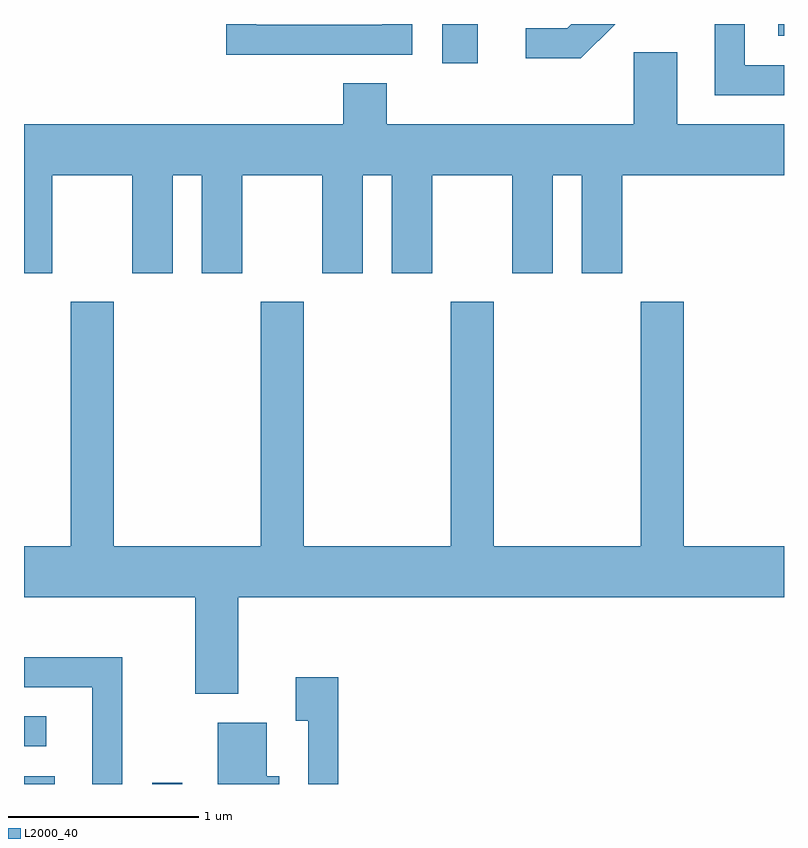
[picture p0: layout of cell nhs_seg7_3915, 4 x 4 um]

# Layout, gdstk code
import gdstk
lib = gdstk.Library(unit=1e-6, precision=1e-09)
def R(c, l, rs):  # rectangles x0, y0, x1, y1
    for r in rs: c.add(gdstk.rectangle(r[:2], r[2:], *l))
def P(c, l, *ps):  # polygons
    for p in ps: c.add(gdstk.Polygon(p, *l))
L2000_40 = (2000, 40)

nhs_seg7_3915 = lib.new_cell('nhs_seg7_3915')
R(nhs_seg7_3915, L2000_40, [(305.611,1682.252,305.774,1682.294), (306.286,1682.252,306.444,1682.258), (305.611,1682.451,305.728,1682.609), (307.811,1686.046,307.999,1686.252), (309.581,1686.191,309.611,1686.252)])
P(nhs_seg7_3915, L2000_40, [(307.654,1686.252),(307.496,1686.252),(307.496,1686.249),(306.834,1686.249),(306.834,1686.252),(306.676,1686.252),(306.676,1686.091),(307.654,1686.091)],
  [(309.611,1686.034),(309.404,1686.034),(309.404,1686.252),(309.246,1686.252),(309.246,1685.876),(309.611,1685.876)],
  [(308.723,1686.252),(308.492,1686.252),(308.469,1686.229),(308.253,1686.229),(308.253,1686.071),(308.542,1686.071)],
  [(305.759,1685.456),(306.181,1685.456),(306.181,1684.941),(306.394,1684.941),(306.394,1685.456),(306.546,1685.456),(306.546,1684.941),(306.759,1684.941),(306.759,1685.456),(307.181,1685.456),(307.181,1684.941),(307.394,1684.941),(307.394,1685.456),(307.546,1685.456),(307.546,1684.941),(307.759,1684.941),(307.759,1685.456),(308.181,1685.456),(308.181,1684.941),(308.394,1684.941),(308.394,1685.456),(308.546,1685.456),(308.546,1684.941),(308.759,1684.941),(308.759,1685.456),(309.611,1685.456),(309.611,1685.724),(309.049,1685.724),(309.049,1686.104),(308.821,1686.104),(308.821,1685.724),(307.519,1685.724),(307.519,1685.939),(307.291,1685.939),(307.291,1685.724),(305.611,1685.724),(305.611,1684.941),(305.759,1684.941)],
  [(306.739,1683.236),(309.611,1683.236),(309.611,1683.504),(309.084,1683.504),(309.084,1684.789),(308.856,1684.789),(308.856,1683.504),(308.084,1683.504),(308.084,1684.789),(307.856,1684.789),(307.856,1683.504),(307.084,1683.504),(307.084,1684.789),(306.856,1684.789),(306.856,1683.504),(306.084,1683.504),(306.084,1684.789),(305.856,1684.789),(305.856,1683.504),(305.611,1683.504),(305.611,1683.236),(306.511,1683.236),(306.511,1682.726),(306.739,1682.726)],
  [(306.129,1682.919),(305.611,1682.919),(305.611,1682.761),(305.971,1682.761),(305.971,1682.252),(306.129,1682.252)],
  [(307.264,1682.814),(307.041,1682.814),(307.041,1682.586),(307.106,1682.586),(307.106,1682.252),(307.264,1682.252)],
  [(306.954,1682.294),(306.889,1682.294),(306.889,1682.574),(306.631,1682.574),(306.631,1682.252),(306.954,1682.252)])

lib.write_gds('nhs_seg7_3915.gds')
